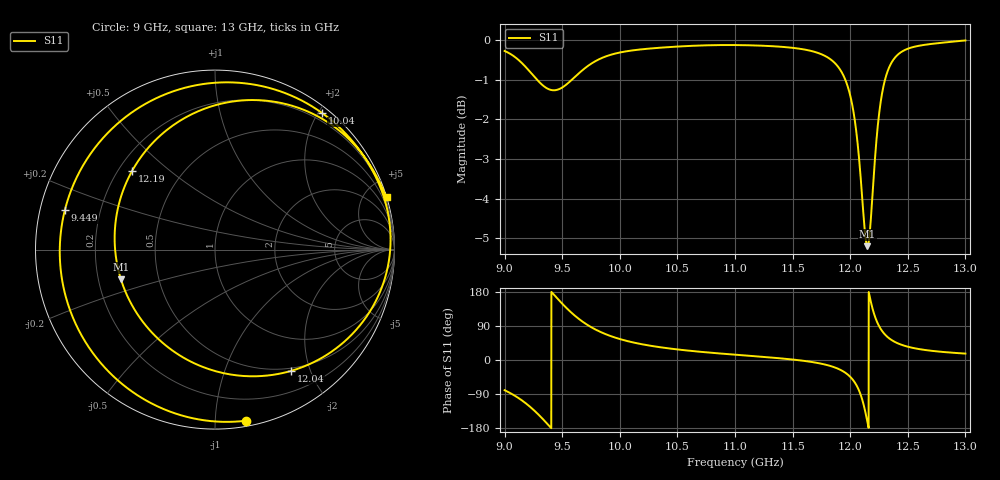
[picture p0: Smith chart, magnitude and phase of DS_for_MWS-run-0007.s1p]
! TOUCHSTONE file generated by CST DESIGN STUDIO
! Date and time: Wed Feb  5 13:19:39 2025
! Project name: C:\Work\MatlabApps\UnitCellOptimizationMatlab\CST\unitcell.cst
! Tree item: Tasks\Sweep1\SPara1\S-Parameters
! Header version: 2024
! Port assignment regex: !\s*Touchstone port\s*([0-9]+)\s*=\s*(CST MWS port|CST DES external port|CST DES block port)\s*(.+)\s* \(\"(.*)\"\)(\s*mode\s*([0-9]+))?.*
! Touchstone port assignment:
! Touchstone port 1 = CST DES external port 1 ("")
# GHz S MA R 50
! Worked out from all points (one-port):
!   4001 points, 9 GHz to 13 GHz, reference 50 ohm
!   lowest |S11| = -5.2 dB at 12.15 GHz (marker M1), VSWR 3.44, Z = 14.8 - j7.02 ohm
!   |S11| at or under -10 dB: nowhere
!   S11 on the Smith chart (normalised r, x): 9 GHz: 0.04, -1.20; 9.449 GHz: 0.07, +0.13; 10.04 GHz: 0.09, +2.06; 12.04 GHz: 0.46, -1.71; 12.19 GHz: 0.26, +0.37; 13 GHz: 0.03, +6.73
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9  0.9687 -79.8
9.122  0.9435 -100.7
9.223  0.9111 -124.0
9.346  0.8733 -160.3
9.449  0.8649 165.3
9.5  0.8712 148.7
9.595  0.8942 120.8
9.694  0.9207 97.6
9.841  0.9487 72.8
10  0.9644 55.3
10.042  0.9669 51.8
10.5  0.9811 27.9
11  0.9855 14.0
11.5  0.9776 1.2
11.845  0.9416 -17.4
11.935  0.9059 -29.3
12  0.8514 -44.3
12.037  0.7975 -58.0
12.098  0.6504 -98.2
12.123  0.583 -125.8
12.149  0.5497 -162.5
12.17  0.5721 166.3
12.193  0.6361 136.7
12.23  0.7539 102.7
12.273  0.8504 78.2
12.364  0.9392 51.8
12.5  0.975 35.1
13  0.9987 16.9
